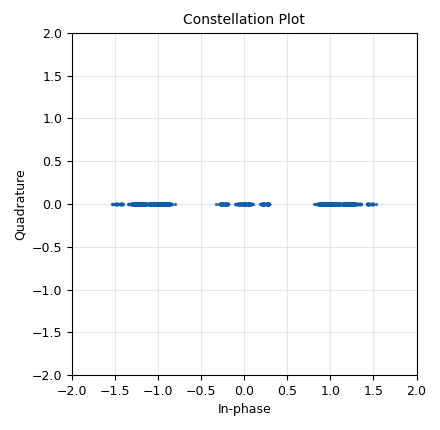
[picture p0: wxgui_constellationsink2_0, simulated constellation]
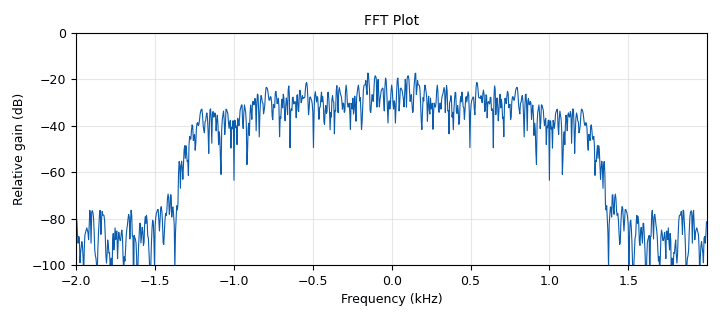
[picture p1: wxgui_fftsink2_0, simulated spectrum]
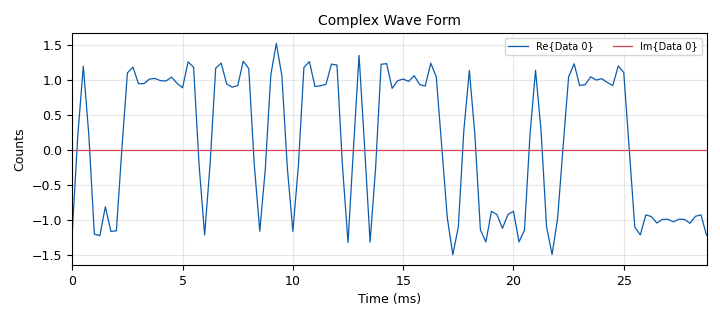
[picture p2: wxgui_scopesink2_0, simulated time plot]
<?xml version='1.0' encoding='utf-8'?>
<?grc format='1' created='3.7.9'?>
<flow_graph>
<block>
<key>options</key>
<param><key>id</key><value>top_block</value></param>
<param><key>category</key><value>Custom</value></param>
<param><key>generate_options</key><value>wx_gui</value></param>
</block>
<block>
<key>variable_slider</key>
<param><key>id</key><value>chan_atten</value></param>
<param><key>converver</key><value>float_converter</value></param>
<param><key>value</key><value>1</value></param>
<param><key>label</key><value>Channel Loss Ratio</value></param>
<param><key>max</key><value>1</value></param>
<param><key>min</key><value>0</value></param>
<param><key>num_steps</key><value>100</value></param>
<param><key>style</key><value>wx.SL_HORIZONTAL</value></param>
</block>
<block>
<key>variable_slider</key>
<param><key>id</key><value>noise_level</value></param>
<param><key>converver</key><value>float_converter</value></param>
<param><key>value</key><value>0</value></param>
<param><key>label</key><value>Noise Level (1=max signal)</value></param>
<param><key>max</key><value>0.5</value></param>
<param><key>min</key><value>0</value></param>
<param><key>num_steps</key><value>100</value></param>
<param><key>style</key><value>wx.SL_HORIZONTAL</value></param>
</block>
<block>
<key>variable</key>
<param><key>id</key><value>samp_rate</value></param>
<param><key>value</key><value>4000</value></param>
</block>
<block>
<key>analog_noise_source_x</key>
<param><key>id</key><value>analog_noise_source_x_0</value></param>
<param><key>amp</key><value>noise_level</value></param>
<param><key>noise_type</key><value>analog.GR_GAUSSIAN</value></param>
<param><key>type</key><value>complex</value></param>
<param><key>seed</key><value>0</value></param>
</block>
<block>
<key>analog_random_source_x</key>
<param><key>id</key><value>analog_random_source_x_0</value></param>
<param><key>max</key><value>31</value></param>
<param><key>min</key><value>0</value></param>
<param><key>num_samps</key><value>1000</value></param>
<param><key>type</key><value>byte</value></param>
<param><key>repeat</key><value>True</value></param>
</block>
<block>
<key>blocks_add_xx</key>
<param><key>id</key><value>blocks_add_xx_0</value></param>
<param><key>type</key><value>complex</value></param>
</block>
<block>
<key>blocks_file_sink</key>
<param><key>id</key><value>blocks_file_sink_0</value></param>
<param><key>file</key><value>rx_dat.txt</value></param>
<param><key>type</key><value>byte</value></param>
</block>
<block>
<key>blocks_file_sink</key>
<param><key>id</key><value>blocks_file_sink_1</value></param>
<param><key>file</key><value>sent_data.txt</value></param>
<param><key>type</key><value>byte</value></param>
</block>
<block>
<key>blocks_multiply_const_vxx</key>
<param><key>id</key><value>blocks_multiply_const_vxx_0</value></param>
<param><key>const</key><value>chan_atten</value></param>
<param><key>type</key><value>complex</value></param>
</block>
<block>
<key>blocks_pack_k_bits_bb</key>
<param><key>id</key><value>blocks_pack_k_bits_bb_0</value></param>
<param><key>k</key><value>8</value></param>
</block>
<block>
<key>blocks_throttle</key>
<param><key>id</key><value>blocks_throttle_0</value></param>
<param><key>samples_per_second</key><value>samp_rate</value></param>
<param><key>type</key><value>byte</value></param>
</block>
<block>
<key>digital_psk_demod</key>
<param><key>id</key><value>digital_psk_demod_0</value></param>
<param><key>differential</key><value>True</value></param>
<param><key>excess_bw</key><value>0.35</value></param>
<param><key>freq_bw</key><value>6.28/100.0</value></param>
<param><key>mod_code</key><value>"gray"</value></param>
<param><key>constellation_points</key><value>2</value></param>
<param><key>phase_bw</key><value>6.28/100.0</value></param>
<param><key>samples_per_symbol</key><value>2</value></param>
<param><key>timing_bw</key><value>6.28/100.0</value></param>
</block>
<block>
<key>digital_psk_mod</key>
<param><key>id</key><value>digital_psk_mod_0</value></param>
<param><key>differential</key><value>True</value></param>
<param><key>excess_bw</key><value>0.35</value></param>
<param><key>mod_code</key><value>"gray"</value></param>
<param><key>constellation_points</key><value>2</value></param>
<param><key>samples_per_symbol</key><value>2</value></param>
</block>
<block>
<key>notebook</key>
<param><key>id</key><value>notebook_0</value></param>
<param><key>labels</key><value>['tab1', 'tab2', 'tab3']</value></param>
<param><key>style</key><value>wx.NB_TOP</value></param>
</block>
<block>
<key>wxgui_constellationsink2</key>
<param><key>id</key><value>wxgui_constellationsink2_0</value></param>
<param><key>const_size</key><value>2048</value></param>
<param><key>frame_rate</key><value>5</value></param>
<param><key>gain_mu</key><value>0.005</value></param>
<param><key>loop_bw</key><value>6.28/100.0</value></param>
<param><key>M</key><value>2</value></param>
<param><key>fmax</key><value>0.06</value></param>
<param><key>mu</key><value>0.5</value></param>
<param><key>notebook</key><value>notebook_0,2</value></param>
<param><key>omega_limit</key><value>0.005</value></param>
<param><key>samp_rate</key><value>samp_rate</value></param>
<param><key>symbol_rate</key><value>samp_rate/2</value></param>
<param><key>theta</key><value>0</value></param>
<param><key>title</key><value>Constellation Plot</value></param>
</block>
<block>
<key>wxgui_fftsink2</key>
<param><key>id</key><value>wxgui_fftsink2_0</value></param>
<param><key>avg_alpha</key><value>0</value></param>
<param><key>average</key><value>False</value></param>
<param><key>baseband_freq</key><value>0</value></param>
<param><key>fft_size</key><value>1024</value></param>
<param><key>freqvar</key><value>None</value></param>
<param><key>notebook</key><value>notebook_0,1</value></param>
<param><key>peak_hold</key><value>False</value></param>
<param><key>ref_level</key><value>0</value></param>
<param><key>ref_scale</key><value>2.0</value></param>
<param><key>fft_rate</key><value>15</value></param>
<param><key>samp_rate</key><value>samp_rate</value></param>
<param><key>title</key><value>FFT Plot</value></param>
<param><key>type</key><value>complex</value></param>
<param><key>win</key><value>None</value></param>
<param><key>y_divs</key><value>10</value></param>
<param><key>y_per_div</key><value>10</value></param>
</block>
<block>
<key>wxgui_scopesink2</key>
<param><key>id</key><value>wxgui_scopesink2_0</value></param>
<param><key>ac_couple</key><value>False</value></param>
<param><key>notebook</key><value>notebook_0,0</value></param>
<param><key>num_inputs</key><value>1</value></param>
<param><key>samp_rate</key><value>samp_rate</value></param>
<param><key>t_scale</key><value>0</value></param>
<param><key>title</key><value>Complex Wave Form</value></param>
<param><key>trig_mode</key><value>wxgui.TRIG_MODE_AUTO</value></param>
<param><key>type</key><value>complex</value></param>
<param><key>v_offset</key><value>0</value></param>
<param><key>v_scale</key><value>0</value></param>
<param><key>xy_mode</key><value>False</value></param>
<param><key>y_axis_label</key><value>Counts</value></param>
</block>
<connection><source_block_id>analog_noise_source_x_0</source_block_id><sink_block_id>blocks_add_xx_0</sink_block_id><source_key>0</source_key><sink_key>1</sink_key></connection>
<connection><source_block_id>analog_random_source_x_0</source_block_id><sink_block_id>blocks_throttle_0</sink_block_id><source_key>0</source_key><sink_key>0</sink_key></connection>
<connection><source_block_id>blocks_add_xx_0</source_block_id><sink_block_id>digital_psk_demod_0</sink_block_id><source_key>0</source_key><sink_key>0</sink_key></connection>
<connection><source_block_id>blocks_add_xx_0</source_block_id><sink_block_id>wxgui_constellationsink2_0</sink_block_id><source_key>0</source_key><sink_key>0</sink_key></connection>
<connection><source_block_id>blocks_add_xx_0</source_block_id><sink_block_id>wxgui_fftsink2_0</sink_block_id><source_key>0</source_key><sink_key>0</sink_key></connection>
<connection><source_block_id>blocks_add_xx_0</source_block_id><sink_block_id>wxgui_scopesink2_0</sink_block_id><source_key>0</source_key><sink_key>0</sink_key></connection>
<connection><source_block_id>blocks_multiply_const_vxx_0</source_block_id><sink_block_id>blocks_add_xx_0</sink_block_id><source_key>0</source_key><sink_key>0</sink_key></connection>
<connection><source_block_id>blocks_pack_k_bits_bb_0</source_block_id><sink_block_id>blocks_file_sink_0</sink_block_id><source_key>0</source_key><sink_key>0</sink_key></connection>
<connection><source_block_id>blocks_throttle_0</source_block_id><sink_block_id>blocks_file_sink_1</sink_block_id><source_key>0</source_key><sink_key>0</sink_key></connection>
<connection><source_block_id>blocks_throttle_0</source_block_id><sink_block_id>digital_psk_mod_0</sink_block_id><source_key>0</source_key><sink_key>0</sink_key></connection>
<connection><source_block_id>digital_psk_demod_0</source_block_id><sink_block_id>blocks_pack_k_bits_bb_0</sink_block_id><source_key>0</source_key><sink_key>0</sink_key></connection>
<connection><source_block_id>digital_psk_mod_0</source_block_id><sink_block_id>blocks_multiply_const_vxx_0</sink_block_id><source_key>0</source_key><sink_key>0</sink_key></connection>
</flow_graph>
